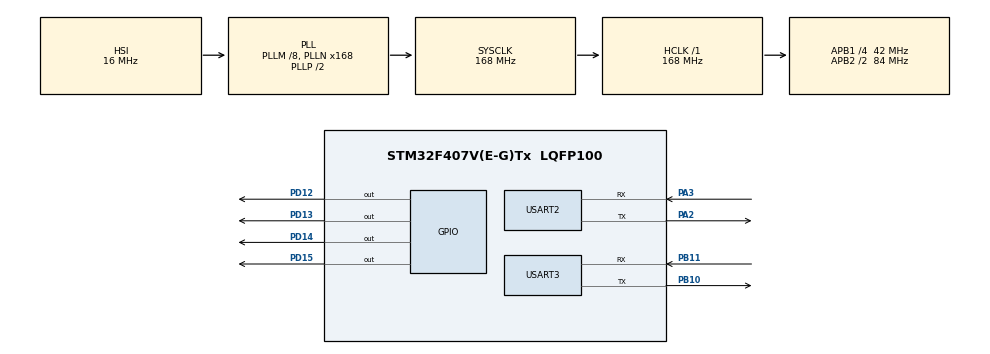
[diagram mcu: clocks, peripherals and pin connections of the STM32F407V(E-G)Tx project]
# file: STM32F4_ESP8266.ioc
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Mcu.Family=STM32F4
Mcu.Name=STM32F407V(E-G)Tx
Mcu.Package=LQFP100
NVIC.PriorityGroup=NVIC_PRIORITYGROUP_4
NVIC.USART2_IRQn=true\:0\:0\:false\:false\:true\:true\:true
PA13.Mode=Serial_Wire
PA13.Signal=SYS_JTMS-SWDIO
PA14.Mode=Serial_Wire
PA14.Signal=SYS_JTCK-SWCLK
PA2.Mode=Asynchronous
PA2.Signal=USART2_TX
PA3.Mode=Asynchronous
PA3.Signal=USART2_RX
PB10.Mode=Asynchronous
PB10.Signal=USART3_TX
PB11.Mode=Asynchronous
PB11.Signal=USART3_RX
PD12.Signal=GPIO_Output
PD13.Signal=GPIO_Output
PD14.Signal=GPIO_Output
PD15.Signal=GPIO_Output
PH0-OSC_IN.Mode=HSE-External-Oscillator
PH0-OSC_IN.Signal=RCC_OSC_IN
PH1-OSC_OUT.Mode=HSE-External-Oscillator
PH1-OSC_OUT.Signal=RCC_OSC_OUT
ProjectManager.HeapSize=0x200
ProjectManager.StackSize=0x400
ProjectManager.TargetToolchain=TrueSTUDIO
RCC.48MHZClocksFreq_Value=84000000
RCC.AHBFreq_Value=168000000
RCC.APB1CLKDivider=RCC_HCLK_DIV4
RCC.APB1Freq_Value=42000000
RCC.APB1TimFreq_Value=84000000
RCC.APB2CLKDivider=RCC_HCLK_DIV2
RCC.APB2Freq_Value=84000000
RCC.APB2TimFreq_Value=168000000
RCC.CortexFreq_Value=168000000
RCC.HCLKFreq_Value=168000000
RCC.HSE_VALUE=8000000
RCC.HSI_VALUE=16000000
RCC.LSE_VALUE=32768
RCC.PLLM=8
RCC.PLLN=168
RCC.SYSCLKFreq_VALUE=168000000
RCC.SYSCLKSource=RCC_SYSCLKSOURCE_PLLCLK
RCC.VCOOutputFreq_Value=336000000
USART2.VirtualMode=VM_ASYNC
USART3.VirtualMode=VM_ASYNC
board=custom

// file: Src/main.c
/* USER CODE BEGIN Header */
/**
  ******************************************************************************
  * @file           : main.c
  * @brief          : Main program body
  ******************************************************************************
  * @attention
  *
  * <h2><center>&copy; Copyright (c) 2021 STMicroelectronics.
  * All rights reserved.</center></h2>
  *
  * This software component is licensed by ST under BSD 3-Clause license,
  * the "License"; You may not use this file except in compliance with the
  * License. You may obtain a copy of the License at:
  *                        opensource.org/licenses/BSD-3-Clause
  *
  ******************************************************************************
  */
/* USER CODE END Header */

#include "main.h"

/* USER CODE BEGIN Includes */
#include <string.h>
#include <stdio.h>
/* USER CODE END Includes */

/* USER CODE BEGIN PTD */
#define ESP_Buffer_Boyutu 5000

/* USER CODE END PTD */

UART_HandleTypeDef huart2;
UART_HandleTypeDef huart3;

/* USER CODE BEGIN PV */
char *Basic_inclusion = "<head> Hello World </head>";

char *LED_ON = "<br><a href=\" ?pin=on\"><button type='button'>ON</button></a>";
char *LED_OFF = "<br><a href=\" ?pin=off\"><button type='button'>OFF</button></a>";
char datatosend[2000] = {0};
char TX_Buffer[500];
char RX_Buffer[100];
char Esp_Veri_Buffer[ESP_Buffer_Boyutu];
char ID[] = "AirTies-26";
char PW[] = "MFSi.27161823";
uint16_t Sayac = 0;
int baglanti_sayaci = 0;
int len = 0;
/* USER CODE END PV */

void SystemClock_Config(void);
static void MX_GPIO_Init(void);
static void MX_USART2_UART_Init(void);
static void MX_USART3_UART_Init(void);
/* USER CODE BEGIN PFP */
static void ESP8266_Init(char *SSID, char *PW);
static void Clear_ESP_Buffer(void);
/* USER CODE END PFP */

int main(void)
{

  /* MCU Configuration--------------------------------------------------------*/

  /* Reset of all peripherals, Initializes the Flash interface and the Systick. */
  HAL_Init();

  /* Configure the system clock */
  SystemClock_Config();

  /* Initialize all configured peripherals */
  MX_GPIO_Init();
  MX_USART2_UART_Init();
  MX_USART3_UART_Init();
  /* USER CODE BEGIN 2 */
  __HAL_UART_ENABLE_IT(&huart2, UART_IT_RXNE);

  /* USER CODE END 2 */

  /* Infinite loop */
  while (1)
  {

    /* USER CODE BEGIN 3 */
	  ESP8266_Init(ID, PW);
  }
  /* USER CODE END 3 */
}

void SystemClock_Config(void)
{
  RCC_OscInitTypeDef RCC_OscInitStruct = {0};
  RCC_ClkInitTypeDef RCC_ClkInitStruct = {0};

  /** Configure the main internal regulator output voltage
  */
  __HAL_RCC_PWR_CLK_ENABLE();
  __HAL_PWR_VOLTAGESCALING_CONFIG(PWR_REGULATOR_VOLTAGE_SCALE1);
  /** Initializes the CPU, AHB and APB busses clocks
  */
  RCC_OscInitStruct.OscillatorType = RCC_OSCILLATORTYPE_HSI;
  RCC_OscInitStruct.HSIState = RCC_HSI_ON;
  RCC_OscInitStruct.HSICalibrationValue = RCC_HSICALIBRATION_DEFAULT;
  RCC_OscInitStruct.PLL.PLLState = RCC_PLL_ON;
  RCC_OscInitStruct.PLL.PLLSource = RCC_PLLSOURCE_HSI;
  RCC_OscInitStruct.PLL.PLLM = 8;
  RCC_OscInitStruct.PLL.PLLN = 168;
  RCC_OscInitStruct.PLL.PLLP = RCC_PLLP_DIV2;
  RCC_OscInitStruct.PLL.PLLQ = 4;
  if (HAL_RCC_OscConfig(&RCC_OscInitStruct) != HAL_OK)
  {
    Error_Handler();
  }
  /** Initializes the CPU, AHB and APB busses clocks
  */
  RCC_ClkInitStruct.ClockType = RCC_CLOCKTYPE_HCLK|RCC_CLOCKTYPE_SYSCLK
                              |RCC_CLOCKTYPE_PCLK1|RCC_CLOCKTYPE_PCLK2;
  RCC_ClkInitStruct.SYSCLKSource = RCC_SYSCLKSOURCE_PLLCLK;
  RCC_ClkInitStruct.AHBCLKDivider = RCC_SYSCLK_DIV1;
  RCC_ClkInitStruct.APB1CLKDivider = RCC_HCLK_DIV4;
  RCC_ClkInitStruct.APB2CLKDivider = RCC_HCLK_DIV2;

  if (HAL_RCC_ClockConfig(&RCC_ClkInitStruct, FLASH_LATENCY_5) != HAL_OK)
  {
    Error_Handler();
  }
}

static void MX_USART2_UART_Init(void)
{

  huart2.Instance = USART2;
  huart2.Init.BaudRate = 115200;
  huart2.Init.WordLength = UART_WORDLENGTH_8B;
  huart2.Init.StopBits = UART_STOPBITS_1;
  huart2.Init.Parity = UART_PARITY_NONE;
  huart2.Init.Mode = UART_MODE_TX_RX;
  huart2.Init.HwFlowCtl = UART_HWCONTROL_NONE;
  huart2.Init.OverSampling = UART_OVERSAMPLING_16;
  if (HAL_UART_Init(&huart2) != HAL_OK)
  {
    Error_Handler();
  }

}

static void MX_USART3_UART_Init(void)
{

  huart3.Instance = USART3;
  huart3.Init.BaudRate = 115200;
  huart3.Init.WordLength = UART_WORDLENGTH_8B;
  huart3.Init.StopBits = UART_STOPBITS_1;
  huart3.Init.Parity = UART_PARITY_NONE;
  huart3.Init.Mode = UART_MODE_TX_RX;
  huart3.Init.HwFlowCtl = UART_HWCONTROL_NONE;
  huart3.Init.OverSampling = UART_OVERSAMPLING_16;
  if (HAL_UART_Init(&huart3) != HAL_OK)
  {
    Error_Handler();
  }

}

static void MX_GPIO_Init(void)
{
  GPIO_InitTypeDef GPIO_InitStruct = {0};

  /* GPIO Ports Clock Enable */
  __HAL_RCC_GPIOH_CLK_ENABLE();
  __HAL_RCC_GPIOA_CLK_ENABLE();
  __HAL_RCC_GPIOB_CLK_ENABLE();
  __HAL_RCC_GPIOD_CLK_ENABLE();

  /*Configure GPIO pin Output Level */
  HAL_GPIO_WritePin(GPIOD, GPIO_PIN_12|GPIO_PIN_13|GPIO_PIN_14|GPIO_PIN_15, GPIO_PIN_RESET);

  /*Configure GPIO pins : PD12 PD13 PD14 PD15 */
  GPIO_InitStruct.Pin = GPIO_PIN_12|GPIO_PIN_13|GPIO_PIN_14|GPIO_PIN_15;
  GPIO_InitStruct.Mode = GPIO_MODE_OUTPUT_PP;
  GPIO_InitStruct.Pull = GPIO_NOPULL;
  GPIO_InitStruct.Speed = GPIO_SPEED_FREQ_LOW;
  HAL_GPIO_Init(GPIOD, &GPIO_InitStruct);

}

/* USER CODE BEGIN 4 */
void ESP8266_Init(char *SSID, char *PW){

	static uint8_t Case = 0;
	switch(Case){
	case 0:
		HAL_UART_Transmit(&huart2,(uint8_t*)TX_Buffer, sprintf(TX_Buffer,"AT\r\n"), 1000);
		Case = 1;
		HAL_Delay(500);
		break;
	case 1:
		if(strstr(Esp_Veri_Buffer,"OK")){
			Clear_ESP_Buffer();
			HAL_UART_Transmit(&huart3,(uint8_t*)TX_Buffer, sprintf(TX_Buffer,"Module Erisildi!\r\n"), 1000);
			Case = 2;
		}
		else{
			Clear_ESP_Buffer();
			HAL_UART_Transmit(&huart3,(uint8_t*)TX_Buffer, sprintf(TX_Buffer,"Module Erisilemedi!\r\n"), 1000);
			Case = 0;
		}
		break;
	case 2:
		HAL_UART_Transmit(&huart2, (uint8_t*)TX_Buffer, sprintf(TX_Buffer, "AT+CWMODE?\r\n"), 1000);
		Case = 3;
		HAL_Delay(500);
		break;
	case 3:
		if(strstr(Esp_Veri_Buffer,"+CWMODE:1")){
			Clear_ESP_Buffer();
			HAL_UART_Transmit(&huart3,(uint8_t*)TX_Buffer, sprintf(TX_Buffer,"Mod ayari dogru!\r\n"), 1000);
			Case = 4;
	}
		else{
			Clear_ESP_Buffer();
			HAL_UART_Transmit(&huart3,(uint8_t*)TX_Buffer, sprintf(TX_Buffer,"Mod ayari yanlis!\r\n"), 1000);
			HAL_UART_Transmit(&huart2, (uint8_t*)TX_Buffer, sprintf(TX_Buffer, "AT+CWMODE=1\r\n"), 1000);
			Case = 0;
		}
		break;
	case 4:
		HAL_UART_Transmit(&huart2, (uint8_t*)TX_Buffer, sprintf(TX_Buffer, "AT+CWJAP=\"%s\",\"%s\"\r\n",SSID,PW), 1000);
		HAL_Delay(500);
		Case = 5;
		break;
	case 5:
		if(strstr(Esp_Veri_Buffer,"OK")){
			Clear_ESP_Buffer();
			HAL_UART_Transmit(&huart3,(uint8_t*)TX_Buffer, sprintf(TX_Buffer,"Baglanti yapildi!\r\n"), 1000);
			Case = 6;
		}
		else{
			Clear_ESP_Buffer();
			HAL_UART_Transmit(&huart3,(uint8_t*)TX_Buffer, sprintf(TX_Buffer,"Baglanti yapilamadi! Bekleniyor!!\r\n"), 1000);
			baglanti_sayaci++;
			HAL_Delay(1250);
			if (baglanti_sayaci == 5){
				HAL_UART_Transmit(&huart3,(uint8_t*)TX_Buffer, sprintf(TX_Buffer,"Baglanti basarisiz. Tekrar deneniyor!!!\r\n"), 1000);
				Case = 0;
				baglanti_sayaci = 0;
			}
		}
		break;
	case 6:
		HAL_UART_Transmit(&huart2, (uint8_t*)TX_Buffer, sprintf(TX_Buffer, "AT+CIFSR\r\n"), 1000);
		HAL_Delay(500);
		Case = 7;
		break;
	case 7:
		if(strstr(Esp_Veri_Buffer,"OK")){
			HAL_UART_Transmit(&huart3,(uint8_t*)TX_Buffer, sprintf(TX_Buffer,"IP Alindi!!!\r\n"), 1000);
			HAL_UART_Transmit(&huart3,(uint8_t*)TX_Buffer, sprintf(TX_Buffer,"Cihaz IP = \r\n"), 1000);
			HAL_UART_Transmit(&huart3,(uint8_t*)TX_Buffer, sprintf(TX_Buffer, &Esp_Veri_Buffer[11]), 1000);
			Clear_ESP_Buffer();
			Case = 8;
		}
		else{
			Clear_ESP_Buffer();
			HAL_UART_Transmit(&huart3,(uint8_t*)TX_Buffer, sprintf(TX_Buffer,"IP Alinamadi!! Tekrar deneniyor!!!\r\n"), 1000);
			Case = 6;
		}
		break;
	case 8:
		HAL_UART_Transmit(&huart2, (uint8_t*)TX_Buffer, sprintf(TX_Buffer, "AT+CIPMUX=1\r\n"), 1000);
		HAL_Delay(500);
		Case = 9;
		break;
	case 9:
		if(strstr(Esp_Veri_Buffer,"OK")){
			HAL_UART_Transmit(&huart3,(uint8_t*)TX_Buffer, sprintf(TX_Buffer,"Coklu baglanti dogrulandi!!!!\r\n"), 1000);
			Clear_ESP_Buffer();
			Case = 10;
		}
		else{
			HAL_UART_Transmit(&huart3,(uint8_t*)TX_Buffer, sprintf(TX_Buffer,"Coklu baglanti dogrulanamadi!!!!\r\n"), 1000);
			Clear_ESP_Buffer();
			Case = 8;
		}
		break;
	case 10:
		HAL_UART_Transmit(&huart2, (uint8_t*)TX_Buffer, sprintf(TX_Buffer, "AT+CIPSERVER=1,80\r\n"), 1000);
		HAL_Delay(500);
		Case = 11;
		break;
	case 11:
		if(strstr(Esp_Veri_Buffer,"OK")){
			HAL_UART_Transmit(&huart3,(uint8_t*)TX_Buffer, sprintf(TX_Buffer,"Server basladi!!!\r\n"), 1000);
			Clear_ESP_Buffer();
			Case = 12;
		}
		else{
			HAL_UART_Transmit(&huart3,(uint8_t*)TX_Buffer, sprintf(TX_Buffer,"Server baslamadi\r\n"), 1000);
			Clear_ESP_Buffer();
			Case = 10;
		}
		break;
	case 12:
		if(strstr(Esp_Veri_Buffer,"GET")){
			sprintf(datatosend, Basic_inclusion);
			strcat(datatosend, LED_ON);
			strcat(datatosend, LED_OFF);
			len = strlen(datatosend);
			HAL_UART_Transmit(&huart2, (uint8_t*)TX_Buffer, sprintf(TX_Buffer, "AT+CIPSEND=%d,%d\r\n",0,len), 1000);
			HAL_Delay(500);
			if(strstr(Esp_Veri_Buffer,">")){
				HAL_UART_Transmit(&huart2, (uint8_t*)TX_Buffer, sprintf(TX_Buffer, datatosend), 1000);
				HAL_Delay(500);
				Case = 13;
			}

		}

		break;
	case 13:
		if(strstr(Esp_Veri_Buffer,":GET /?pin=on")) {
			HAL_GPIO_WritePin(GPIOD, GPIO_PIN_12 | GPIO_PIN_13| GPIO_PIN_14| GPIO_PIN_15, GPIO_PIN_SET);
			HAL_UART_Transmit(&huart2, (uint8_t*)TX_Buffer, sprintf(TX_Buffer, "AT+CIPCLOSE=0\r\n"), 1000);
			Clear_ESP_Buffer();
			Case = 12;
		}

		else if(strstr(Esp_Veri_Buffer,":GET /?pin=off")) {
			HAL_GPIO_WritePin(GPIOD, GPIO_PIN_12 | GPIO_PIN_13| GPIO_PIN_14| GPIO_PIN_15, GPIO_PIN_RESET);
			HAL_UART_Transmit(&huart2, (uint8_t*)TX_Buffer, sprintf(TX_Buffer, "AT+CIPCLOSE=0\r\n"), 1000);
			Clear_ESP_Buffer();
			Case = 12;
		}

		break;
		}

}

void Clear_ESP_Buffer(void){

	uint16_t i;
	for(i= 0; i < ESP_Buffer_Boyutu; i++){
		Esp_Veri_Buffer[i] = 0;
	}
	Sayac = 0;
}

/* USER CODE END 4 */

void Error_Handler(void)
{
}

/************************ (C) COPYRIGHT STMicroelectronics *****END OF FILE****/
